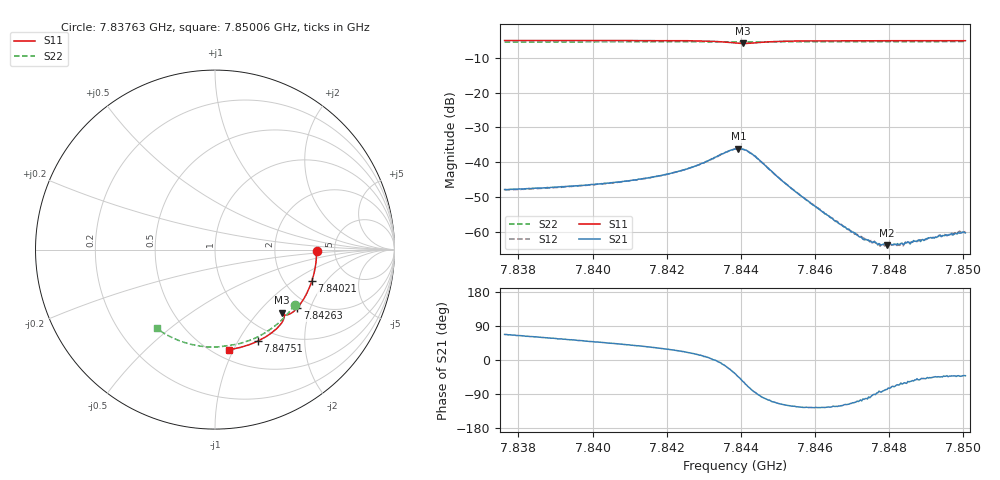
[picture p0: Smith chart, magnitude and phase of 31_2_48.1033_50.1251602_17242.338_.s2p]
#  HZ  S  RI  R  50.00
! Rohde & Schwarz Vector Network Analyzer
! Rohde-Schwarz,ZNB20-2Port,1311601062101988,3.16
! Created: UTC 12/23/2023, 3:37:40 AM
! freq[Hz]  re:S11  im:S11  re:S21  im:S21  re:S12  im:S12  re:S22  im:S22
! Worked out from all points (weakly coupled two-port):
!   401 points, 7.83763 GHz to 7.85006 GHz, reference 50 ohm
!   highest |S21| = -36.10 dB at 7.84394 GHz (marker M1); lowest = -64.0 dB at 7.84794 GHz (marker M2)
!   lowest |S11| = -5.8 dB at 7.84406 GHz (marker M3), VSWR 3.11, Z = 71.5 - j68.1 ohm
!   |S11| at or under -10 dB: nowhere
!   |S22| runs from -5.4 to -5.3 dB; largest |S21 - S12| = 0.00032
!   S11 on the Smith chart (normalised r, x): 7.83763 GHz: 3.61, -0.07; 7.84021 GHz: 2.78, -1.45; 7.84263 GHz: 1.71, -1.63; 7.84751 GHz: 0.82, -1.22; 7.85006 GHz: 0.59, -0.96
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7.837628e9  0.5666 -0.007  0.00154 0.00372  0.00154 0.00366  0.4437 -0.3078
7.83971e9  0.5484 -0.1444  0.00288 0.00359  0.00285 0.00359  0.3459 -0.4156
7.840207e9  0.5389 -0.1764  0.00331 0.00354  0.00329 0.00351  0.3185 -0.4372
7.841792e9  0.4937 -0.2756  0.00544 0.00328  0.00539 0.00331  0.2228 -0.4935
7.84263e9  0.4577 -0.3254  0.00783 0.00267  0.00779 0.00269  0.1677 -0.515
7.843376e9  0.4102 -0.3615  0.0123 -0.000877  0.012 -0.000767  0.1168 -0.5279
7.843842e9  0.376 -0.3596  0.0125 -0.00899  0.0125 -0.00911  0.0855 -0.5323
7.843935e9  0.3732 -0.3558  0.0111 -0.011  0.0112 -0.0109  0.0798 -0.5329
7.84406e9  0.3738 -0.3512  0.00832 -0.0129  0.00837 -0.0127  0.0721 -0.5342
7.844339e9  0.383 -0.3547  0.0016 -0.0125  0.00159 -0.0126  0.0544 -0.5373
7.845147e9  0.3708 -0.4094  -0.00241 -0.0046  -0.00241 -0.00461  -0.00223 -0.5429
7.845924e9  0.3318 -0.4506  -0.00144 -0.00201  -0.00145 -0.00204  -0.0571 -0.5407
7.846918e9  0.2752 -0.4906  -0.000485 -0.000963  -0.000477 -0.00094  -0.1262 -0.5297
7.84726e9  0.2548 -0.5019  -0.000251 -0.000778  -0.00023 -0.000807  -0.1494 -0.5237
7.847508e9  0.2399 -0.5093  -8.08e-05 -0.000714  -7.98e-05 -0.000738  -0.1662 -0.5188
7.847726e9  0.2264 -0.5155  9.26e-05 -0.000665  1.84e-05 -0.000661  -0.1809 -0.5142
7.847943e9  0.2129 -0.5212  0.000136 -0.000615  0.00015 -0.000627  -0.195 -0.5089
7.848005e9  0.2091 -0.5228  0.000175 -0.000623  0.000175 -0.000642  -0.1992 -0.5075
7.848316e9  0.1896 -0.5302  0.000329 -0.000587  0.000288 -0.000592  -0.2194 -0.4992
7.848471e9  0.1797 -0.5337  0.000324 -0.000602  0.000376 -0.000575  -0.2294 -0.4948
7.84931e9  0.1257 -0.5487  0.000603 -0.000587  0.000637 -0.000607  -0.2815 -0.4675
7.850056e9  0.0769 -0.5574  0.000717 -0.000633  0.00075 -0.000655  -0.3252 -0.4389
